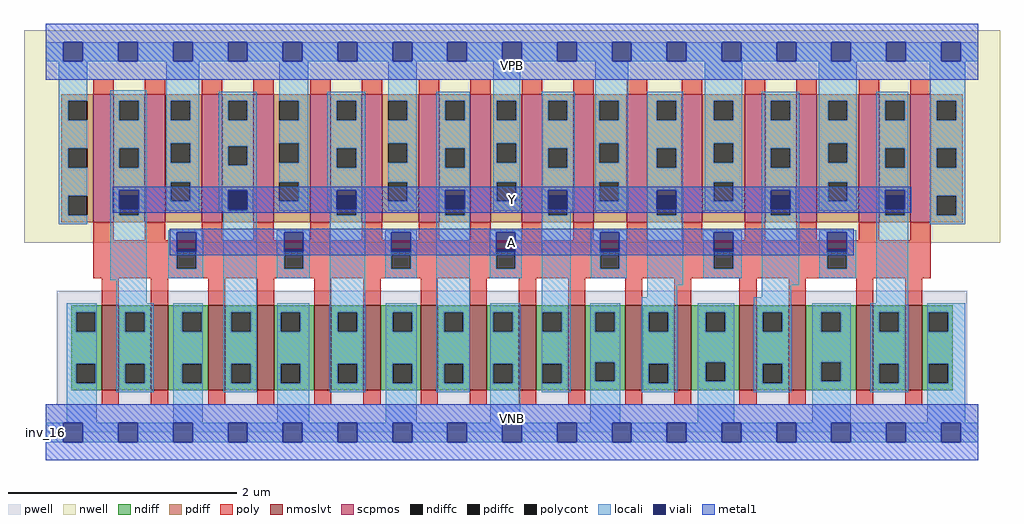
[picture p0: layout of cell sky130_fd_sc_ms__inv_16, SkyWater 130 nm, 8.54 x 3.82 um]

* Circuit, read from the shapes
.subckt sky130_fd_sc_ms__inv_16 A VGND VNB VPB VPWR Y
XM1 Y A VGND VNB sky130_fd_pr__nfet_01v8_lvt w=0.74 l=0.15 m=16
XM2 Y A VPWR VPB sky130_fd_pr__pfet_01v8 w=1.12 l=0.18 m=16
.ends

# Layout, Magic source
magic
tech sky130A
magscale 1 2
<< nwell >>
rect -38 332 1670 704
<< pwell >>
rect 19 49 1613 248
rect 0 0 1632 49
<< scpmos >>
rect 83 368 119 592
rect 173 368 209 592
rect 273 368 309 592
rect 363 368 399 592
rect 463 368 499 592
rect 553 368 589 592
rect 653 368 689 592
rect 743 368 779 592
rect 833 368 869 592
rect 923 368 959 592
rect 1017 368 1053 592
rect 1113 368 1149 592
rect 1223 368 1259 592
rect 1313 368 1349 592
rect 1423 368 1459 592
rect 1513 368 1549 592
<< nmoslvt >>
rect 98 74 128 222
rect 184 74 214 222
rect 284 74 314 222
rect 370 74 400 222
rect 470 74 500 222
rect 556 74 586 222
rect 656 74 686 222
rect 742 74 772 222
rect 828 74 858 222
rect 914 74 944 222
rect 1014 74 1044 222
rect 1100 74 1130 222
rect 1214 74 1244 222
rect 1300 74 1330 222
rect 1418 74 1448 222
rect 1504 74 1534 222
<< ndiff >>
rect 45 210 98 222
rect 45 176 53 210
rect 87 176 98 210
rect 45 120 98 176
rect 45 86 53 120
rect 87 86 98 120
rect 45 74 98 86
rect 128 210 184 222
rect 128 176 139 210
rect 173 176 184 210
rect 128 120 184 176
rect 128 86 139 120
rect 173 86 184 120
rect 128 74 184 86
rect 214 210 284 222
rect 214 176 239 210
rect 273 176 284 210
rect 214 120 284 176
rect 214 86 239 120
rect 273 86 284 120
rect 214 74 284 86
rect 314 210 370 222
rect 314 176 325 210
rect 359 176 370 210
rect 314 120 370 176
rect 314 86 325 120
rect 359 86 370 120
rect 314 74 370 86
rect 400 210 470 222
rect 400 176 411 210
rect 445 176 470 210
rect 400 120 470 176
rect 400 86 411 120
rect 445 86 470 120
rect 400 74 470 86
rect 500 210 556 222
rect 500 176 511 210
rect 545 176 556 210
rect 500 120 556 176
rect 500 86 511 120
rect 545 86 556 120
rect 500 74 556 86
rect 586 210 656 222
rect 586 176 607 210
rect 641 176 656 210
rect 586 120 656 176
rect 586 86 607 120
rect 641 86 656 120
rect 586 74 656 86
rect 686 210 742 222
rect 686 176 697 210
rect 731 176 742 210
rect 686 120 742 176
rect 686 86 697 120
rect 731 86 742 120
rect 686 74 742 86
rect 772 210 828 222
rect 772 176 783 210
rect 817 176 828 210
rect 772 120 828 176
rect 772 86 783 120
rect 817 86 828 120
rect 772 74 828 86
rect 858 210 914 222
rect 858 176 869 210
rect 903 176 914 210
rect 858 120 914 176
rect 858 86 869 120
rect 903 86 914 120
rect 858 74 914 86
rect 944 210 1014 222
rect 944 176 962 210
rect 996 176 1014 210
rect 944 123 1014 176
rect 944 89 962 123
rect 996 89 1014 123
rect 944 74 1014 89
rect 1044 210 1100 222
rect 1044 176 1055 210
rect 1089 176 1100 210
rect 1044 120 1100 176
rect 1044 86 1055 120
rect 1089 86 1100 120
rect 1044 74 1100 86
rect 1130 210 1214 222
rect 1130 176 1155 210
rect 1189 176 1214 210
rect 1130 123 1214 176
rect 1130 89 1155 123
rect 1189 89 1214 123
rect 1130 74 1214 89
rect 1244 210 1300 222
rect 1244 176 1255 210
rect 1289 176 1300 210
rect 1244 120 1300 176
rect 1244 86 1255 120
rect 1289 86 1300 120
rect 1244 74 1300 86
rect 1330 210 1418 222
rect 1330 176 1357 210
rect 1391 176 1418 210
rect 1330 123 1418 176
rect 1330 89 1357 123
rect 1391 89 1418 123
rect 1330 74 1418 89
rect 1448 210 1504 222
rect 1448 176 1459 210
rect 1493 176 1504 210
rect 1448 120 1504 176
rect 1448 86 1459 120
rect 1493 86 1504 120
rect 1448 74 1504 86
rect 1534 210 1587 222
rect 1534 176 1545 210
rect 1579 176 1587 210
rect 1534 120 1587 176
rect 1534 86 1545 120
rect 1579 86 1587 120
rect 1534 74 1587 86
<< pdiff >>
rect 27 580 83 592
rect 27 546 39 580
rect 73 546 83 580
rect 27 497 83 546
rect 27 463 39 497
rect 73 463 83 497
rect 27 414 83 463
rect 27 380 39 414
rect 73 380 83 414
rect 27 368 83 380
rect 119 580 173 592
rect 119 546 129 580
rect 163 546 173 580
rect 119 497 173 546
rect 119 463 129 497
rect 163 463 173 497
rect 119 414 173 463
rect 119 380 129 414
rect 163 380 173 414
rect 119 368 173 380
rect 209 580 273 592
rect 209 546 219 580
rect 253 546 273 580
rect 209 506 273 546
rect 209 472 219 506
rect 253 472 273 506
rect 209 438 273 472
rect 209 404 219 438
rect 253 404 273 438
rect 209 368 273 404
rect 309 580 363 592
rect 309 546 319 580
rect 353 546 363 580
rect 309 501 363 546
rect 309 467 319 501
rect 353 467 363 501
rect 309 422 363 467
rect 309 388 319 422
rect 353 388 363 422
rect 309 368 363 388
rect 399 580 463 592
rect 399 546 409 580
rect 443 546 463 580
rect 399 506 463 546
rect 399 472 409 506
rect 443 472 463 506
rect 399 438 463 472
rect 399 404 409 438
rect 443 404 463 438
rect 399 368 463 404
rect 499 580 553 592
rect 499 546 509 580
rect 543 546 553 580
rect 499 497 553 546
rect 499 463 509 497
rect 543 463 553 497
rect 499 414 553 463
rect 499 380 509 414
rect 543 380 553 414
rect 499 368 553 380
rect 589 580 653 592
rect 589 546 599 580
rect 633 546 653 580
rect 589 506 653 546
rect 589 472 599 506
rect 633 472 653 506
rect 589 438 653 472
rect 589 404 599 438
rect 633 404 653 438
rect 589 368 653 404
rect 689 580 743 592
rect 689 546 699 580
rect 733 546 743 580
rect 689 497 743 546
rect 689 463 699 497
rect 733 463 743 497
rect 689 414 743 463
rect 689 380 699 414
rect 733 380 743 414
rect 689 368 743 380
rect 779 580 833 592
rect 779 546 789 580
rect 823 546 833 580
rect 779 506 833 546
rect 779 472 789 506
rect 823 472 833 506
rect 779 438 833 472
rect 779 404 789 438
rect 823 404 833 438
rect 779 368 833 404
rect 869 580 923 592
rect 869 546 879 580
rect 913 546 923 580
rect 869 497 923 546
rect 869 463 879 497
rect 913 463 923 497
rect 869 414 923 463
rect 869 380 879 414
rect 913 380 923 414
rect 869 368 923 380
rect 959 580 1017 592
rect 959 546 969 580
rect 1003 546 1017 580
rect 959 506 1017 546
rect 959 472 969 506
rect 1003 472 1017 506
rect 959 438 1017 472
rect 959 404 969 438
rect 1003 404 1017 438
rect 959 368 1017 404
rect 1053 580 1113 592
rect 1053 546 1069 580
rect 1103 546 1113 580
rect 1053 497 1113 546
rect 1053 463 1069 497
rect 1103 463 1113 497
rect 1053 414 1113 463
rect 1053 380 1069 414
rect 1103 380 1113 414
rect 1053 368 1113 380
rect 1149 580 1223 592
rect 1149 546 1169 580
rect 1203 546 1223 580
rect 1149 506 1223 546
rect 1149 472 1169 506
rect 1203 472 1223 506
rect 1149 438 1223 472
rect 1149 404 1169 438
rect 1203 404 1223 438
rect 1149 368 1223 404
rect 1259 580 1313 592
rect 1259 546 1269 580
rect 1303 546 1313 580
rect 1259 497 1313 546
rect 1259 463 1269 497
rect 1303 463 1313 497
rect 1259 414 1313 463
rect 1259 380 1269 414
rect 1303 380 1313 414
rect 1259 368 1313 380
rect 1349 580 1423 592
rect 1349 546 1369 580
rect 1403 546 1423 580
rect 1349 506 1423 546
rect 1349 472 1369 506
rect 1403 472 1423 506
rect 1349 438 1423 472
rect 1349 404 1369 438
rect 1403 404 1423 438
rect 1349 368 1423 404
rect 1459 580 1513 592
rect 1459 546 1469 580
rect 1503 546 1513 580
rect 1459 497 1513 546
rect 1459 463 1469 497
rect 1503 463 1513 497
rect 1459 414 1513 463
rect 1459 380 1469 414
rect 1503 380 1513 414
rect 1459 368 1513 380
rect 1549 580 1605 592
rect 1549 546 1559 580
rect 1593 546 1605 580
rect 1549 497 1605 546
rect 1549 463 1559 497
rect 1593 463 1605 497
rect 1549 414 1605 463
rect 1549 380 1559 414
rect 1593 380 1605 414
rect 1549 368 1605 380
<< ndiffc >>
rect 53 176 87 210
rect 53 86 87 120
rect 139 176 173 210
rect 139 86 173 120
rect 239 176 273 210
rect 239 86 273 120
rect 325 176 359 210
rect 325 86 359 120
rect 411 176 445 210
rect 411 86 445 120
rect 511 176 545 210
rect 511 86 545 120
rect 607 176 641 210
rect 607 86 641 120
rect 697 176 731 210
rect 697 86 731 120
rect 783 176 817 210
rect 783 86 817 120
rect 869 176 903 210
rect 869 86 903 120
rect 962 176 996 210
rect 962 89 996 123
rect 1055 176 1089 210
rect 1055 86 1089 120
rect 1155 176 1189 210
rect 1155 89 1189 123
rect 1255 176 1289 210
rect 1255 86 1289 120
rect 1357 176 1391 210
rect 1357 89 1391 123
rect 1459 176 1493 210
rect 1459 86 1493 120
rect 1545 176 1579 210
rect 1545 86 1579 120
<< pdiffc >>
rect 39 546 73 580
rect 39 463 73 497
rect 39 380 73 414
rect 129 546 163 580
rect 129 463 163 497
rect 129 380 163 414
rect 219 546 253 580
rect 219 472 253 506
rect 219 404 253 438
rect 319 546 353 580
rect 319 467 353 501
rect 319 388 353 422
rect 409 546 443 580
rect 409 472 443 506
rect 409 404 443 438
rect 509 546 543 580
rect 509 463 543 497
rect 509 380 543 414
rect 599 546 633 580
rect 599 472 633 506
rect 599 404 633 438
rect 699 546 733 580
rect 699 463 733 497
rect 699 380 733 414
rect 789 546 823 580
rect 789 472 823 506
rect 789 404 823 438
rect 879 546 913 580
rect 879 463 913 497
rect 879 380 913 414
rect 969 546 1003 580
rect 969 472 1003 506
rect 969 404 1003 438
rect 1069 546 1103 580
rect 1069 463 1103 497
rect 1069 380 1103 414
rect 1169 546 1203 580
rect 1169 472 1203 506
rect 1169 404 1203 438
rect 1269 546 1303 580
rect 1269 463 1303 497
rect 1269 380 1303 414
rect 1369 546 1403 580
rect 1369 472 1403 506
rect 1369 404 1403 438
rect 1469 546 1503 580
rect 1469 463 1503 497
rect 1469 380 1503 414
rect 1559 546 1593 580
rect 1559 463 1593 497
rect 1559 380 1593 414
<< poly >>
rect 83 592 119 618
rect 173 592 209 618
rect 273 592 309 618
rect 363 592 399 618
rect 463 592 499 618
rect 553 592 589 618
rect 653 592 689 618
rect 743 592 779 618
rect 833 592 869 618
rect 923 592 959 618
rect 1017 592 1053 618
rect 1113 592 1149 618
rect 1223 592 1259 618
rect 1313 592 1349 618
rect 1423 592 1459 618
rect 1513 592 1549 618
rect 83 336 119 368
rect 173 336 209 368
rect 273 336 309 368
rect 363 336 399 368
rect 463 336 499 368
rect 553 336 589 368
rect 653 336 689 368
rect 743 336 779 368
rect 833 336 869 368
rect 923 336 959 368
rect 1017 336 1053 368
rect 1113 336 1149 368
rect 1223 336 1259 368
rect 1313 336 1349 368
rect 1423 336 1459 368
rect 1513 336 1549 368
rect 83 320 1549 336
rect 83 286 229 320
rect 263 286 417 320
rect 451 286 605 320
rect 639 286 788 320
rect 822 286 970 320
rect 1004 286 1169 320
rect 1203 286 1368 320
rect 1402 286 1549 320
rect 83 270 1549 286
rect 98 222 128 270
rect 184 222 214 270
rect 284 222 314 270
rect 370 222 400 270
rect 470 222 500 270
rect 556 222 586 270
rect 656 222 686 270
rect 742 222 772 270
rect 828 222 858 270
rect 914 222 944 270
rect 1014 222 1044 270
rect 1100 222 1130 270
rect 1214 222 1244 270
rect 1300 222 1330 270
rect 1418 222 1448 270
rect 1504 222 1534 270
rect 98 48 128 74
rect 184 48 214 74
rect 284 48 314 74
rect 370 48 400 74
rect 470 48 500 74
rect 556 48 586 74
rect 656 48 686 74
rect 742 48 772 74
rect 828 48 858 74
rect 914 48 944 74
rect 1014 48 1044 74
rect 1100 48 1130 74
rect 1214 48 1244 74
rect 1300 48 1330 74
rect 1418 48 1448 74
rect 1504 48 1534 74
<< polycont >>
rect 229 286 263 320
rect 417 286 451 320
rect 605 286 639 320
rect 788 286 822 320
rect 970 286 1004 320
rect 1169 286 1203 320
rect 1368 286 1402 320
<< locali >>
rect 0 649 31 683
rect 65 649 127 683
rect 161 649 223 683
rect 257 649 319 683
rect 353 649 415 683
rect 449 649 511 683
rect 545 649 607 683
rect 641 649 703 683
rect 737 649 799 683
rect 833 649 895 683
rect 929 649 991 683
rect 1025 649 1087 683
rect 1121 649 1183 683
rect 1217 649 1279 683
rect 1313 649 1375 683
rect 1409 649 1471 683
rect 1505 649 1567 683
rect 1601 649 1632 683
rect 23 580 73 649
rect 23 546 39 580
rect 23 497 73 546
rect 23 463 39 497
rect 23 414 73 463
rect 23 380 39 414
rect 23 364 73 380
rect 113 580 177 599
rect 113 546 129 580
rect 163 546 177 580
rect 113 497 177 546
rect 113 463 129 497
rect 163 463 177 497
rect 113 424 177 463
rect 113 380 129 424
rect 163 380 177 424
rect 211 580 269 649
rect 211 546 219 580
rect 253 546 269 580
rect 211 506 269 546
rect 211 472 219 506
rect 253 472 269 506
rect 211 438 269 472
rect 211 404 219 438
rect 253 404 269 438
rect 211 388 269 404
rect 303 580 369 596
rect 303 546 319 580
rect 353 546 369 580
rect 303 501 369 546
rect 303 467 319 501
rect 353 467 369 501
rect 303 424 369 467
rect 303 388 319 424
rect 353 388 369 424
rect 409 580 459 649
rect 443 546 459 580
rect 409 506 459 546
rect 443 472 459 506
rect 409 438 459 472
rect 443 404 459 438
rect 409 388 459 404
rect 493 580 559 596
rect 493 546 509 580
rect 543 546 559 580
rect 493 497 559 546
rect 493 463 509 497
rect 543 463 559 497
rect 493 424 559 463
rect 493 388 509 424
rect 113 266 177 380
rect 214 350 276 354
rect 214 286 229 350
rect 263 286 276 350
rect 214 270 276 286
rect 123 226 177 266
rect 37 210 89 226
rect 37 176 53 210
rect 87 176 89 210
rect 37 120 89 176
rect 37 86 53 120
rect 87 86 89 120
rect 37 17 89 86
rect 123 210 189 226
rect 123 176 139 210
rect 173 176 189 210
rect 123 120 189 176
rect 123 86 139 120
rect 173 86 189 120
rect 123 70 189 86
rect 223 210 275 226
rect 223 176 239 210
rect 273 176 275 210
rect 223 120 275 176
rect 223 86 239 120
rect 273 86 275 120
rect 223 17 275 86
rect 311 210 369 388
rect 497 380 509 388
rect 543 380 559 424
rect 599 580 649 649
rect 633 546 649 580
rect 599 506 649 546
rect 633 472 649 506
rect 599 438 649 472
rect 633 404 649 438
rect 599 388 649 404
rect 683 580 742 596
rect 683 546 699 580
rect 733 546 742 580
rect 683 497 742 546
rect 683 463 699 497
rect 733 463 742 497
rect 683 424 742 463
rect 404 350 462 354
rect 404 286 417 350
rect 451 286 462 350
rect 404 270 462 286
rect 311 176 325 210
rect 359 176 369 210
rect 311 120 369 176
rect 311 86 325 120
rect 359 86 369 120
rect 311 70 369 86
rect 405 210 461 226
rect 405 176 411 210
rect 445 176 461 210
rect 405 120 461 176
rect 405 86 411 120
rect 445 86 461 120
rect 405 17 461 86
rect 497 210 559 380
rect 683 380 699 424
rect 733 380 742 424
rect 783 580 830 649
rect 783 546 789 580
rect 823 546 830 580
rect 783 506 830 546
rect 783 472 789 506
rect 823 472 830 506
rect 783 438 830 472
rect 783 404 789 438
rect 823 404 830 438
rect 783 388 830 404
rect 868 580 926 596
rect 868 546 879 580
rect 913 546 926 580
rect 868 497 926 546
rect 868 463 879 497
rect 913 463 926 497
rect 868 424 926 463
rect 594 350 649 354
rect 594 286 605 350
rect 639 286 649 350
rect 594 270 649 286
rect 497 176 511 210
rect 545 176 559 210
rect 497 120 559 176
rect 497 86 511 120
rect 545 86 559 120
rect 497 70 559 86
rect 595 210 649 226
rect 595 176 607 210
rect 641 176 649 210
rect 595 120 649 176
rect 595 86 607 120
rect 641 86 649 120
rect 595 17 649 86
rect 683 210 742 380
rect 868 380 879 424
rect 913 388 926 424
rect 962 580 1019 649
rect 962 546 969 580
rect 1003 546 1019 580
rect 962 506 1019 546
rect 962 472 969 506
rect 1003 472 1019 506
rect 962 438 1019 472
rect 962 404 969 438
rect 1003 404 1019 438
rect 962 388 1019 404
rect 1053 580 1116 596
rect 1053 546 1069 580
rect 1103 546 1116 580
rect 1053 497 1116 546
rect 1053 463 1069 497
rect 1103 463 1116 497
rect 1053 424 1116 463
rect 913 380 919 388
rect 777 350 833 354
rect 777 286 788 350
rect 822 286 833 350
rect 777 270 833 286
rect 683 176 697 210
rect 731 176 742 210
rect 683 120 742 176
rect 683 86 697 120
rect 731 86 742 120
rect 683 70 742 86
rect 778 210 830 226
rect 778 176 783 210
rect 817 176 830 210
rect 778 120 830 176
rect 778 86 783 120
rect 817 86 830 120
rect 778 17 830 86
rect 868 210 919 380
rect 1053 380 1069 424
rect 1103 380 1116 424
rect 1153 580 1219 649
rect 1153 546 1169 580
rect 1203 546 1219 580
rect 1153 506 1219 546
rect 1153 472 1169 506
rect 1203 472 1219 506
rect 1153 438 1219 472
rect 1153 404 1169 438
rect 1203 404 1219 438
rect 1153 388 1219 404
rect 1253 580 1319 596
rect 1253 546 1269 580
rect 1303 546 1319 580
rect 1253 497 1319 546
rect 1253 463 1269 497
rect 1303 463 1319 497
rect 1253 424 1319 463
rect 954 350 1017 354
rect 954 286 970 350
rect 1004 286 1017 350
rect 954 270 1017 286
rect 1053 257 1116 380
rect 1253 380 1269 424
rect 1303 380 1319 424
rect 1353 580 1419 649
rect 1353 546 1369 580
rect 1403 546 1419 580
rect 1353 506 1419 546
rect 1353 472 1369 506
rect 1403 472 1419 506
rect 1353 438 1419 472
rect 1353 404 1369 438
rect 1403 404 1419 438
rect 1353 388 1419 404
rect 1453 580 1509 596
rect 1453 546 1469 580
rect 1503 546 1509 580
rect 1453 497 1509 546
rect 1453 463 1469 497
rect 1503 463 1509 497
rect 1453 424 1509 463
rect 1151 350 1218 354
rect 1151 286 1169 350
rect 1203 286 1218 350
rect 1151 270 1218 286
rect 1253 257 1319 380
rect 1453 380 1469 424
rect 1503 380 1509 424
rect 1354 350 1418 354
rect 1354 286 1368 350
rect 1402 286 1418 350
rect 1354 270 1418 286
rect 1053 236 1105 257
rect 1253 236 1305 257
rect 868 176 869 210
rect 903 176 919 210
rect 868 120 919 176
rect 868 86 869 120
rect 903 86 919 120
rect 868 70 919 86
rect 953 210 1005 226
rect 953 176 962 210
rect 996 176 1005 210
rect 953 123 1005 176
rect 953 89 962 123
rect 996 89 1005 123
rect 953 17 1005 89
rect 1043 210 1105 236
rect 1043 176 1055 210
rect 1089 176 1105 210
rect 1043 120 1105 176
rect 1043 86 1055 120
rect 1089 86 1105 120
rect 1043 70 1105 86
rect 1141 210 1205 226
rect 1141 176 1155 210
rect 1189 176 1205 210
rect 1141 123 1205 176
rect 1141 89 1155 123
rect 1189 89 1205 123
rect 1141 17 1205 89
rect 1239 210 1305 236
rect 1453 226 1509 380
rect 1547 580 1609 649
rect 1547 546 1559 580
rect 1593 546 1609 580
rect 1547 497 1609 546
rect 1547 463 1559 497
rect 1593 463 1609 497
rect 1547 414 1609 463
rect 1547 380 1559 414
rect 1593 380 1609 414
rect 1547 364 1609 380
rect 1239 176 1255 210
rect 1289 176 1305 210
rect 1239 120 1305 176
rect 1239 86 1255 120
rect 1289 86 1305 120
rect 1239 70 1305 86
rect 1341 210 1409 226
rect 1341 176 1357 210
rect 1391 176 1409 210
rect 1341 123 1409 176
rect 1341 89 1357 123
rect 1391 89 1409 123
rect 1341 17 1409 89
rect 1443 210 1509 226
rect 1443 176 1459 210
rect 1493 176 1509 210
rect 1443 120 1509 176
rect 1443 86 1459 120
rect 1493 86 1509 120
rect 1443 70 1509 86
rect 1543 210 1609 226
rect 1543 176 1545 210
rect 1579 176 1609 210
rect 1543 120 1609 176
rect 1543 86 1545 120
rect 1579 86 1609 120
rect 1543 17 1609 86
rect 0 -17 31 17
rect 65 -17 127 17
rect 161 -17 223 17
rect 257 -17 319 17
rect 353 -17 415 17
rect 449 -17 511 17
rect 545 -17 607 17
rect 641 -17 703 17
rect 737 -17 799 17
rect 833 -17 895 17
rect 929 -17 991 17
rect 1025 -17 1087 17
rect 1121 -17 1183 17
rect 1217 -17 1279 17
rect 1313 -17 1375 17
rect 1409 -17 1471 17
rect 1505 -17 1567 17
rect 1601 -17 1632 17
<< viali >>
rect 31 649 65 683
rect 127 649 161 683
rect 223 649 257 683
rect 319 649 353 683
rect 415 649 449 683
rect 511 649 545 683
rect 607 649 641 683
rect 703 649 737 683
rect 799 649 833 683
rect 895 649 929 683
rect 991 649 1025 683
rect 1087 649 1121 683
rect 1183 649 1217 683
rect 1279 649 1313 683
rect 1375 649 1409 683
rect 1471 649 1505 683
rect 1567 649 1601 683
rect 129 414 163 424
rect 129 390 163 414
rect 319 422 353 424
rect 319 390 353 422
rect 509 414 543 424
rect 509 390 543 414
rect 229 320 263 350
rect 229 316 263 320
rect 417 320 451 350
rect 417 316 451 320
rect 699 414 733 424
rect 699 390 733 414
rect 605 320 639 350
rect 605 316 639 320
rect 879 414 913 424
rect 879 390 913 414
rect 788 320 822 350
rect 788 316 822 320
rect 1069 414 1103 424
rect 1069 390 1103 414
rect 970 320 1004 350
rect 970 316 1004 320
rect 1269 414 1303 424
rect 1269 390 1303 414
rect 1169 320 1203 350
rect 1169 316 1203 320
rect 1469 414 1503 424
rect 1469 390 1503 414
rect 1368 320 1402 350
rect 1368 316 1402 320
rect 31 -17 65 17
rect 127 -17 161 17
rect 223 -17 257 17
rect 319 -17 353 17
rect 415 -17 449 17
rect 511 -17 545 17
rect 607 -17 641 17
rect 703 -17 737 17
rect 799 -17 833 17
rect 895 -17 929 17
rect 991 -17 1025 17
rect 1087 -17 1121 17
rect 1183 -17 1217 17
rect 1279 -17 1313 17
rect 1375 -17 1409 17
rect 1471 -17 1505 17
rect 1567 -17 1601 17
<< metal1 >>
rect 0 683 1632 715
rect 0 649 31 683
rect 65 649 127 683
rect 161 649 223 683
rect 257 649 319 683
rect 353 649 415 683
rect 449 649 511 683
rect 545 649 607 683
rect 641 649 703 683
rect 737 649 799 683
rect 833 649 895 683
rect 929 649 991 683
rect 1025 649 1087 683
rect 1121 649 1183 683
rect 1217 649 1279 683
rect 1313 649 1375 683
rect 1409 649 1471 683
rect 1505 649 1567 683
rect 1601 649 1632 683
rect 0 617 1632 649
rect 117 424 1515 430
rect 117 390 129 424
rect 163 390 319 424
rect 353 390 509 424
rect 543 390 699 424
rect 733 390 879 424
rect 913 390 1069 424
rect 1103 390 1269 424
rect 1303 390 1469 424
rect 1503 390 1515 424
rect 117 384 1515 390
rect 217 350 1414 356
rect 217 316 229 350
rect 263 316 417 350
rect 451 316 605 350
rect 639 316 788 350
rect 822 316 970 350
rect 1004 316 1169 350
rect 1203 316 1368 350
rect 1402 316 1414 350
rect 217 310 1414 316
rect 0 17 1632 49
rect 0 -17 31 17
rect 65 -17 127 17
rect 161 -17 223 17
rect 257 -17 319 17
rect 353 -17 415 17
rect 449 -17 511 17
rect 545 -17 607 17
rect 641 -17 703 17
rect 737 -17 799 17
rect 833 -17 895 17
rect 929 -17 991 17
rect 1025 -17 1087 17
rect 1121 -17 1183 17
rect 1217 -17 1279 17
rect 1313 -17 1375 17
rect 1409 -17 1471 17
rect 1505 -17 1567 17
rect 1601 -17 1632 17
rect 0 -49 1632 -17
<< labels >>
flabel pwell s 0 0 1632 49 0 FreeSans 200 0 0 0 VNB
port 3 nsew ground bidirectional
flabel nwell s 0 617 1632 666 0 FreeSans 200 0 0 0 VPB
port 4 nsew power bidirectional
rlabel comment s 0 0 0 0 4 inv_16
flabel metal1 s 0 617 1632 666 0 FreeSans 340 0 0 0 VPWR
port 5 nsew power bidirectional
flabel metal1 s 0 0 1632 49 0 FreeSans 340 0 0 0 VGND
port 2 nsew ground bidirectional
flabel metal1 s 117 384 1515 430 0 FreeSans 400 0 0 0 Y
port 6 nsew signal output
flabel metal1 s 217 310 1414 356 0 FreeSans 400 0 0 0 A
port 1 nsew signal input
<< properties >>
string LEFsite unit
string LEFclass CORE
string FIXED_BBOX 0 0 1632 666
string GDS_FILE $PDKPATH/libs.ref/sky130_fd_sc_ms/gds/sky130_fd_sc_ms.gds
string LEFsymmetry X Y
string GDS_END 2531996
string GDS_START 2518388
<< end >>
